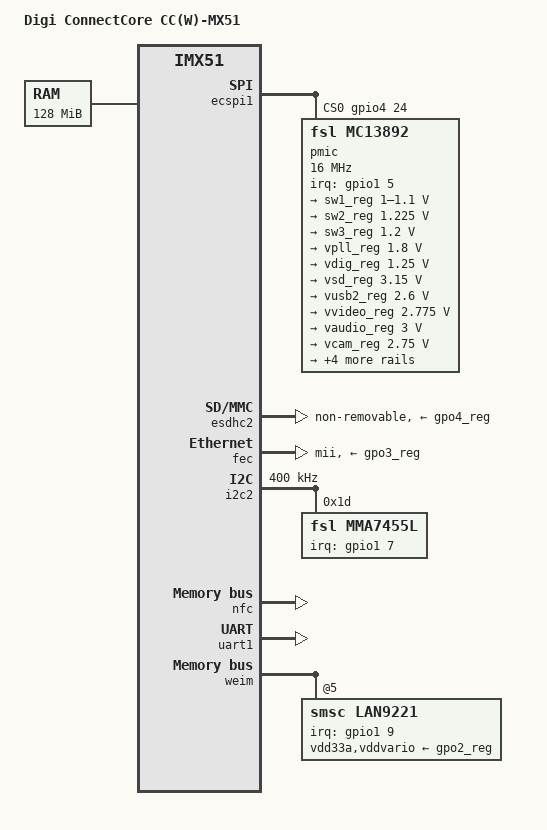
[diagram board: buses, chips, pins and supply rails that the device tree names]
/*
 * Copyright (C) 2013 Alexander Shiyan <shc_work@mail.ru>
 *
 * The code contained herein is licensed under the GNU General Public
 * License. You may obtain a copy of the GNU General Public License
 * Version 2 or later at the following locations:
 *
 * http://www.opensource.org/licenses/gpl-license.html
 * http://www.gnu.org/copyleft/gpl.html
 */

/dts-v1/;
#include "imx51.dtsi"

/ {
	model = "Digi ConnectCore CC(W)-MX51";
	compatible = "digi,connectcore-ccxmx51-som", "fsl,imx51";

	chosen {
		linux,stdout-path = &uart1;

		environment@0 {
			compatible = "barebox,environment";
			device-path = &nfc, "partname:env";
		};
	};

	memory {
		reg = <0x90000000 0x08000000>;
	};
};

&ecspi1 {
	pinctrl-names = "default";
	pinctrl-0 = <&pinctrl_ecspi1_1>;
	fsl,spi-num-chipselects = <1>;
	cs-gpios = <&gpio4 24 0>;
	status = "okay";

	pmic: mc13892@0 {
		compatible = "fsl,mc13892";
		spi-max-frequency = <16000000>;
		spi-cs-high;
		reg = <0>;
		interrupt-parent = <&gpio1>;
		interrupts = <5 0x4>;
		fsl,mc13xxx-uses-rtc;

		regulators {
			sw1_reg: sw1 {
				regulator-min-microvolt = <1000000>;
				regulator-max-microvolt = <1100000>;
				regulator-boot-on;
				regulator-always-on;
			};

			sw2_reg: sw2 {
				regulator-min-microvolt = <1225000>;
				regulator-max-microvolt = <1225000>;
				regulator-boot-on;
				regulator-always-on;
			};

			sw3_reg: sw3 {
				regulator-min-microvolt = <1200000>;
				regulator-max-microvolt = <1200000>;
				regulator-boot-on;
				regulator-always-on;
			};

			swbst_reg: swbst { };

			viohi_reg: viohi {
				regulator-always-on;
			};

			vpll_reg: vpll {
				regulator-min-microvolt = <1800000>;
				regulator-max-microvolt = <1800000>;
				regulator-always-on;
			};

			vdig_reg: vdig {
				regulator-min-microvolt = <1250000>;
				regulator-max-microvolt = <1250000>;
				regulator-always-on;
			};

			vsd_reg: vsd {
				regulator-min-microvolt = <3150000>;
				regulator-max-microvolt = <3150000>;
				regulator-always-on;
			};

			vusb2_reg: vusb2 {
				regulator-min-microvolt = <2600000>;
				regulator-max-microvolt = <2600000>;
				regulator-always-on;
			};

			vvideo_reg: vvideo {
				regulator-min-microvolt = <2775000>;
				regulator-max-microvolt = <2775000>;
				regulator-always-on;
			};

			vaudio_reg: vaudio {
				regulator-min-microvolt = <3000000>;
				regulator-max-microvolt = <3000000>;
				regulator-always-on;
			};

			vcam_reg: vcam {
				regulator-min-microvolt = <2750000>;
				regulator-max-microvolt = <2750000>;
				regulator-always-on;
			};

			vgen1_reg: vgen1 {
				regulator-min-microvolt = <1200000>;
				regulator-max-microvolt = <1200000>;
				regulator-always-on;
			};

			vgen2_reg: vgen2 {
				regulator-min-microvolt = <3150000>;
				regulator-max-microvolt = <3150000>;
				regulator-always-on;
			};

			vgen3_reg: vgen3 {
				regulator-min-microvolt = <1800000>;
				regulator-max-microvolt = <1800000>;
				regulator-always-on;
			};

			vusb_reg: vusb {
				regulator-always-on;
			};

			gpo1_reg: gpo1 { };

			gpo2_reg: gpo2 { };

			gpo3_reg: gpo3 { };

			gpo4_reg: gpo4 { };

			pwgt2spi_reg: pwgt2spi {
				regulator-always-on;
			};

			vcoincell_reg: vcoincell {
				regulator-min-microvolt = <3000000>;
				regulator-max-microvolt = <3000000>;
				regulator-always-on;
			};
		};
	};
};

&esdhc2 {
	pinctrl-names = "default";
	pinctrl-0 = <&pinctrl_esdhc2_1>;
	cap-sdio-irq;
	enable-sdio-wakeup;
	keep-power-in-suspend;
	max-frequency = <50000000>;
	voltage-ranges = <2750 2750>;
	no-1-8-v;
	non-removable;
	vmmc-supply = <&gpo4_reg>;
	status = "okay";
};

&fec {
	pinctrl-names = "default";
	pinctrl-0 = <&pinctrl_fec_2>;
	phy-mode = "mii";
	phy-supply = <&gpo3_reg>;
	/* Pins shared with LCD2, keep status disabled */
};

&i2c2 {
	pinctrl-names = "default";
	pinctrl-0 = <&pinctrl_i2c2_3>;
	clock-frequency = <400000>;
	status = "okay";

	mma7455l@1d {
		compatible = "fsl,mma7455l";
		reg = <0x1d>;
		interrupt-parent = <&gpio1>;
		interrupts = <7 0x04>, <6 0x04>;
	};
};

&nfc {
	pinctrl-names = "default";
	pinctrl-0 = <&pinctrl_nfc_1 &pinctrl_nfc_cs0_1>;
	nand-bus-width = <8>;
	nand-ecc-mode = "hw";
	nand-on-flash-bbt;
	#address-cells = <1>;
	#size-cells = <1>;
	status = "okay";

	partition@0 {
		label = "boot";
		reg = <0x00000 0x80000>;
	};

	partition@1 {
		label = "env";
		reg = <0x80000 0x40000>;
	};
};

&uart1 {
	pinctrl-names = "default";
	pinctrl-0 = <&pinctrl_uart1_1>;
	status = "okay";
};

&usbotg {
	phy_type = "utmi_wide";
	disable-over-current;
	/* Device role is not known, keep status disabled */
};

&weim {
	pinctrl-names = "default";
	pinctrl-0 = <&pinctrl_weim_1 &pinctrl_weim_cs5_1>;
	status = "okay";

	lan9221: lan9221@ce000000 {
		compatible = "smsc,lan9221", "smsc,lan9115";
		reg = <5 0x00000000 0x1000>;
		fsl,weim-cs-timing = <
			0x00420081 0x00000000
			0x32260000 0x00000000
			0x72080f00 0x00000000
		>;
		clocks = <&clks 0>;
		interrupt-parent = <&gpio1>;
		interrupts = <9 0x08>;
		phy-mode = "mii";
		reg-io-width = <2>;
		smsc,irq-push-pull;
		vdd33a-supply = <&gpo2_reg>;
		vddvario-supply = <&gpo2_reg>;
	};
};

&iomuxc {
	pinctrl-names = "default";
	pinctrl-0 = <&pinctrl_hog>;

	imx51-digi-connectcore-som {
		pinctrl_hog: hoggrp {
			fsl,pins = <
				/* MC13892 IRQ */
				MX51_PAD_GPIO1_5__GPIO1_5	0xe5
				/* MMA7455L IRQ */
				MX51_PAD_GPIO1_7__GPIO1_7	0xe5
				MX51_PAD_GPIO1_6__GPIO1_6	0xe5
				/* LAN9221 IRQ */
				MX51_PAD_GPIO1_9__GPIO1_9	0xe5
				/* eCSPI Chipselect */
				MX51_PAD_CSPI1_SS0__GPIO4_24	0x85
			>;
		};
	};
};
